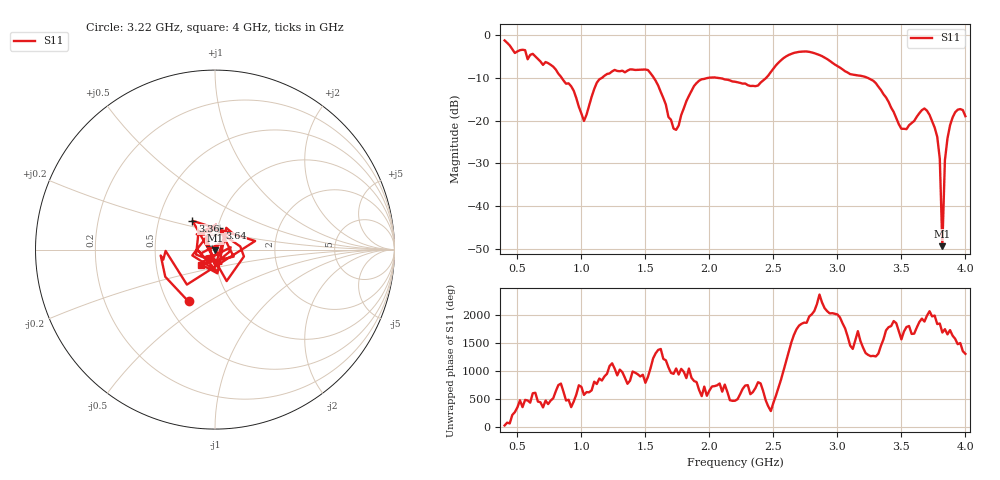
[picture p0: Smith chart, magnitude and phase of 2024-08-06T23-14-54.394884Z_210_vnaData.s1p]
!Created with skrf (http://scikit-rf.org).
# Hz S RI R 50.0
!freq ReS11 ImS11
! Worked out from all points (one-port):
!   181 points, 400 MHz to 4 GHz, reference 50 ohm
!   lowest |S11| = -49.4 dB at 3.82 GHz (marker M1), VSWR 1.01, Z = 49.9 - j0.319 ohm
!   |S11| at or under -10 dB: 1.566 GHz to 1.986 GHz (420 MHz wide, 23.6 % of centre); 2.072 GHz to 2.442 GHz (370.8 MHz wide, 16.4 % of centre); 3.239 GHz to end of sweep (the widest 3 of 4)
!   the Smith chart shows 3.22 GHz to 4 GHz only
!   S11 on the Smith chart (normalised r, x): 3.22 GHz: 0.64, -0.41; 3.36 GHz: 0.74, +0.25; 3.64 GHz: 1.02, +0.25; 4 GHz: 0.85, -0.14
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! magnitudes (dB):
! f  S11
! 400 MHz  -1.2
! 860 MHz  -10.6
! 940 MHz  -13.0
! 1.02 GHz  -20.1
! 1.12 GHz  -11.1
! 1.3 GHz  -8.4
! 1.52 GHz  -8.1
! 1.6 GHz  -11.8
! 1.72 GHz  -21.9
! 1.76 GHz  -21.2
! 1.92 GHz  -10.6
! 2.2 GHz  -10.9
! 2.38 GHz  -11.8
! 2.66 GHz  -4.1
! 3.1 GHz  -9.1
! 3.22 GHz  -9.8
! 3.36 GHz  -13.8
! 3.5 GHz  -21.9
! 3.56 GHz  -21.1
! 3.64 GHz  -18.3
! 3.7 GHz  -17.7
! 3.78 GHz  -23.8
! 3.8 GHz  -28.9
! 3.82 GHz  -49.4
! 3.84 GHz  -29.3
! 3.86 GHz  -24.2
! 3.92 GHz  -18.0
! 4 GHz  -19.0
